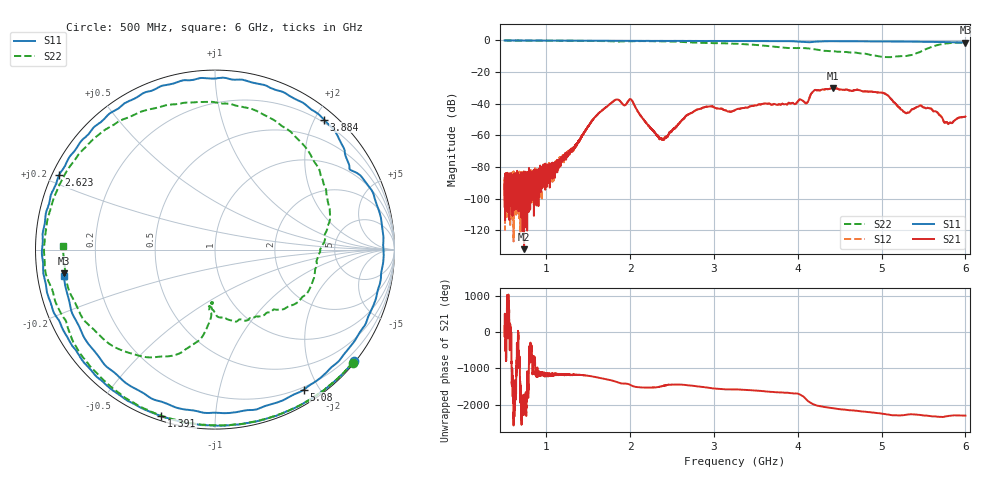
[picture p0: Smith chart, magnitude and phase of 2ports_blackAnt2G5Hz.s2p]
# Hz S DB R 50
! CMT, C2409, 19096212, 19.2.3/2
! Date: 3/29/2022 3:16:56 AM
! Data: Format (Calibration Info)
! Freq	S11:dB/Ang(F2)	S21:dB/Ang(F2)	S12:dB/Ang(F2)	S22:dB/Ang(F2)
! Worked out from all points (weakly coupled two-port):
!   5001 points, 500 MHz to 6 GHz, reference 50 ohm
!   highest |S21| = -30.20 dB at 4.42 GHz (marker M1); lowest = -132.0 dB at 732.7 MHz (marker M2)
!   lowest |S11| = -1.4 dB at 6 GHz (marker M3), VSWR 12.55, Z = 4.01 - j3.84 ohm
!   |S11| at or under -10 dB: nowhere
!   |S22| runs from -10.7 to -0.1 dB; largest |S21 - S12| = 0.00076
!   S11 on the Smith chart (normalised r, x): 500 MHz: 0.03, -2.85; 1.391 GHz: 0.02, -0.73; 2.623 GHz: 0.02, +0.23; 3.884 GHz: 0.16, +2.13; 5.08 GHz: 0.17, -1.80; 6 GHz: 0.08, -0.08
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5e8  -0.05 -38.7  -87.08 165.6  -90.84 -149.4  -0.07 -39.4
7.327369e8  -0.08 -56.6  -132.00 41.4  -101.65 27.3  -0.10 -58.0
1.111268e9  -0.16 -86.0  -76.62 -64.5  -78.06 -78.1  -0.18 -89.1
1.391159e9  -0.21 -107.9  -62.97 -96.5  -63.70 -99.9  -0.27 -113.3
1.416977e9  -0.24 -109.9  -61.10 -99.9  -61.17 -101.4  -0.27 -115.5
1.60284e9  -0.27 -124.5  -47.19 -164.9  -47.11 -165.2  -0.41 -132.1
1.841232e9  -0.38 -143.3  -37.31 65.4  -37.34 65.2  -0.70 -153.5
2.013534e9  -0.38 -156.2  -37.53 -29.6  -37.52 -29.9  -0.54 -168.1
2.333793e9  -0.34 177.9  -60.77 -71.1  -61.05 -71.4  -0.55 158.0
2.416412e9  -0.36 171.2  -61.31 -25.9  -61.65 -30.3  -0.64 149.1
2.622913e9  -0.34 154.5  -50.10 -9.8  -50.01 -9.6  -0.98 126.6
2.899899e9  -0.40 132.4  -42.05 -80.7  -42.02 -80.7  -1.62 98.6
3.251061e9  -0.41 103.7  -44.06 -134.0  -44.07 -134.0  -2.13 60.6
3.884137e9  -0.49 50.1  -39.84 131.0  -39.87 131.2  -4.81 -4.2
4.168149e9  -1.04 29.4  -33.10 -169.2  -33.19 -168.2  -5.38 -34.2
4.419895e9  -0.54 6.1  -30.20 62.7  -30.26 63.0  -6.84 -53.6
5.079794e9  -0.69 -57.7  -35.05 -115.7  -35.05 -114.6  -10.61 -93.9
5.084846e9  -0.68 -58.1  -35.30 -117.2  -35.34 -116.7  -10.62 -93.6
5.277953e9  -0.79 -78.3  -45.59 -124.1  -45.53 -123.3  -9.95 -95.4
5.666698e9  -0.98 -124.0  -45.68 -169.3  -45.46 -168.9  -2.93 -123.0
5.80062e9  -1.12 -142.3  -52.72 -147.5  -52.82 -148.1  -1.76 -148.4
6e9  -1.39 -171.2  -48.15 -138.2  -48.11 -136.8  -1.47 177.8
